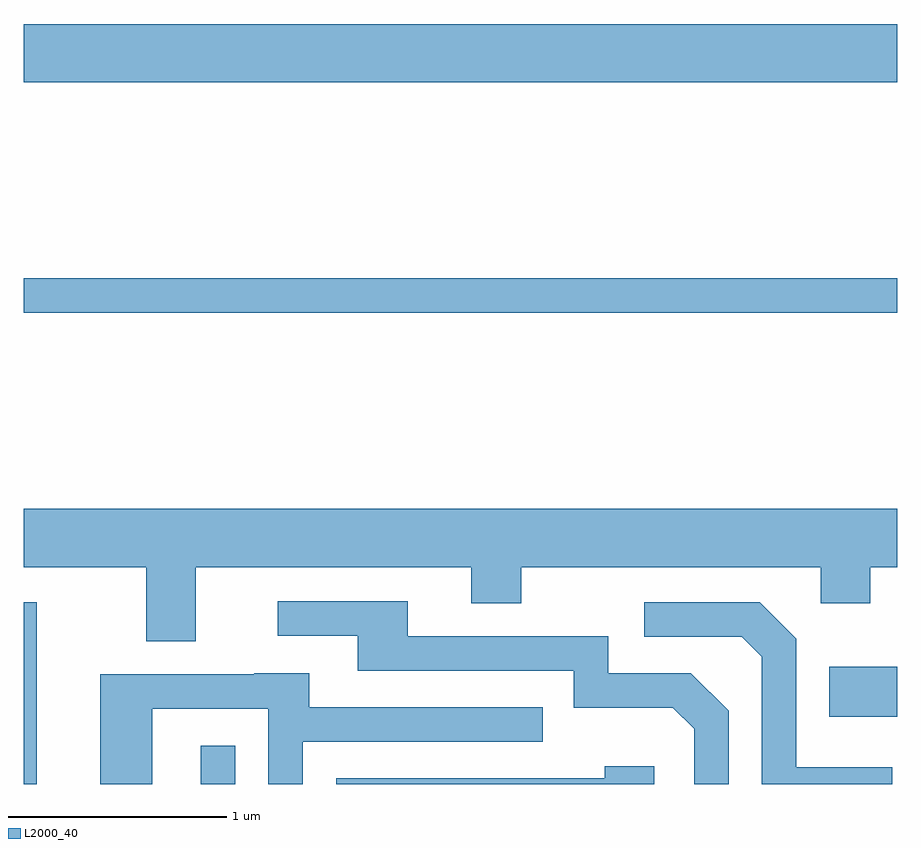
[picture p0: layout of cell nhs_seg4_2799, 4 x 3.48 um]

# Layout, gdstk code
import gdstk
lib = gdstk.Library(unit=1e-6, precision=1e-09)
def R(c, l, rs):  # rectangles x0, y0, x1, y1
    for r in rs: c.add(gdstk.rectangle(r[:2], r[2:], *l))
def P(c, l, *ps):  # polygons
    for p in ps: c.add(gdstk.Polygon(p, *l))
L2000_40 = (2000, 40)

nhs_seg4_2799 = lib.new_cell('nhs_seg4_2799')
R(nhs_seg4_2799, L2000_40, [(267.611,1275.982,267.669,1276.814), (268.421,1275.982,268.579,1276.158), (271.301,1276.291,271.611,1276.519), (267.611,1278.141,271.611,1278.299), (267.611,1279.196,271.611,1279.464)])
P(nhs_seg4_2799, L2000_40, [(267.611,1276.976),(268.171,1276.976),(268.171,1276.636),(268.399,1276.636),(268.399,1276.976),(269.661,1276.976),(269.661,1276.811),(269.889,1276.811),(269.889,1276.976),(271.261,1276.976),(271.261,1276.811),(271.489,1276.811),(271.489,1276.976),(271.611,1276.976),(271.611,1277.244),(267.611,1277.244)],
  [(270.839,1276.317),(270.667,1276.489),(270.289,1276.489),(270.289,1276.659),(269.369,1276.659),(269.369,1276.819),(268.773,1276.819),(268.773,1276.661),(269.141,1276.661),(269.141,1276.501),(270.131,1276.501),(270.131,1276.331),(270.584,1276.331),(270.681,1276.234),(270.681,1275.982),(270.839,1275.982)],
  [(271.589,1276.059),(271.149,1276.059),(271.149,1276.647),(270.982,1276.814),(270.453,1276.814),(270.453,1276.656),(270.899,1276.656),(270.991,1276.564),(270.991,1275.982),(271.589,1275.982)],
  [(268.199,1276.326),(268.731,1276.326),(268.731,1275.982),(268.889,1275.982),(268.889,1276.176),(269.988,1276.176),(269.988,1276.334),(268.919,1276.334),(268.919,1276.489),(268.665,1276.489),(268.665,1276.484),(267.961,1276.484),(267.961,1275.982),(268.199,1275.982)],
  [(270.499,1276.064),(270.271,1276.064),(270.271,1276.009),(269.041,1276.009),(269.041,1275.982),(270.499,1275.982)])

lib.write_gds('nhs_seg4_2799.gds')
